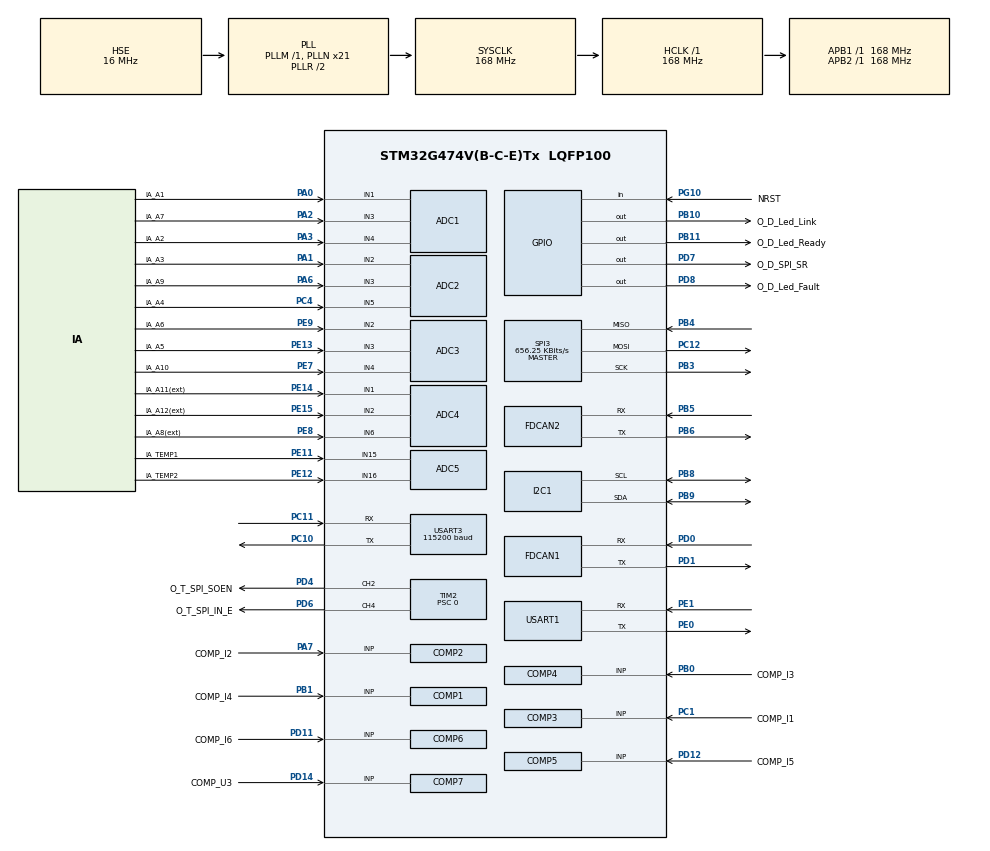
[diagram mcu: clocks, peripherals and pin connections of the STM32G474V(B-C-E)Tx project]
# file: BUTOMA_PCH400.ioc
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ADC1.EnableInjectedConversion=ENABLE
ADC1.EnableInjectedOversampling=ENABLE
ADC1.EnableRegularConversion=DISABLE
ADC1.ExternalTrigInjecConv=ADC_EXTERNALTRIGINJEC_T3_TRGO
ADC1.InjNumberOfConversion=3
ADC1.InjOversamplingRatio=ADC_OVERSAMPLING_RATIO_16
ADC1.InjectedChannel-6\#ChannelInjectedConversion=ADC_CHANNEL_1
ADC1.InjectedChannel-7\#ChannelInjectedConversion=ADC_CHANNEL_3
ADC1.InjectedChannel-8\#ChannelInjectedConversion=ADC_CHANNEL_4
ADC1.InjectedOffsetNumber-6\#ChannelInjectedConversion=ADC_OFFSET_NONE
ADC1.InjectedOffsetNumber-7\#ChannelInjectedConversion=ADC_OFFSET_NONE
ADC1.InjectedOffsetNumber-8\#ChannelInjectedConversion=ADC_OFFSET_NONE
ADC1.InjectedRank-6\#ChannelInjectedConversion=1
ADC1.InjectedRank-7\#ChannelInjectedConversion=2
ADC1.InjectedRank-8\#ChannelInjectedConversion=3
ADC1.InjectedSamplingTime-6\#ChannelInjectedConversion=ADC_SAMPLETIME_2CYCLES_5
ADC1.InjectedSamplingTime-7\#ChannelInjectedConversion=ADC_SAMPLETIME_2CYCLES_5
ADC1.InjectedSamplingTime-8\#ChannelInjectedConversion=ADC_SAMPLETIME_2CYCLES_5
ADC1.Overrun=ADC_OVR_DATA_OVERWRITTEN
ADC1.Rank1_Channel=ADC_CHANNEL_1
ADC1.Rank2_Channel=ADC_CHANNEL_3
ADC1.Rank3_Channel=ADC_CHANNEL_4
ADC1.master=1
ADC2.EnableInjectedConversion=ENABLE
ADC2.EnableInjectedOversampling=ENABLE
ADC2.EnableRegularConversion=DISABLE
ADC2.ExternalTrigInjecConv=ADC_EXTERNALTRIGINJEC_T3_TRGO
ADC2.InjNumberOfConversion=3
ADC2.InjOversamplingRatio=ADC_OVERSAMPLING_RATIO_16
ADC2.InjectedChannel-11\#ChannelInjectedConversion=ADC_CHANNEL_2
ADC2.InjectedChannel-12\#ChannelInjectedConversion=ADC_CHANNEL_3
ADC2.InjectedChannel-13\#ChannelInjectedConversion=ADC_CHANNEL_5
ADC2.InjectedOffsetNumber-11\#ChannelInjectedConversion=ADC_OFFSET_NONE
ADC2.InjectedOffsetNumber-12\#ChannelInjectedConversion=ADC_OFFSET_NONE
ADC2.InjectedOffsetNumber-13\#ChannelInjectedConversion=ADC_OFFSET_NONE
ADC2.InjectedRank-11\#ChannelInjectedConversion=1
ADC2.InjectedRank-12\#ChannelInjectedConversion=2
ADC2.InjectedRank-13\#ChannelInjectedConversion=3
ADC2.InjectedSamplingTime-11\#ChannelInjectedConversion=ADC_SAMPLETIME_2CYCLES_5
ADC2.InjectedSamplingTime-12\#ChannelInjectedConversion=ADC_SAMPLETIME_2CYCLES_5
ADC2.InjectedSamplingTime-13\#ChannelInjectedConversion=ADC_SAMPLETIME_2CYCLES_5
ADC2.Overrun=ADC_OVR_DATA_OVERWRITTEN
ADC2.Rank1_Channel=ADC_CHANNEL_2
ADC2.Rank2_Channel=ADC_CHANNEL_3
ADC2.Rank3_Channel=ADC_CHANNEL_5
ADC3.EnableInjectedConversion=ENABLE
ADC3.EnableInjectedOversampling=ENABLE
ADC3.EnableRegularConversion=DISABLE
ADC3.ExternalTrigInjecConv=ADC_EXTERNALTRIGINJEC_T3_TRGO
ADC3.InjNumberOfConversion=3
ADC3.InjOversamplingRatio=ADC_OVERSAMPLING_RATIO_16
ADC3.InjectedChannel-10\#ChannelInjectedConversion=ADC_CHANNEL_2
ADC3.InjectedChannel-11\#ChannelInjectedConversion=ADC_CHANNEL_3
ADC3.InjectedChannel-12\#ChannelInjectedConversion=ADC_CHANNEL_4
ADC3.InjectedOffsetNumber-10\#ChannelInjectedConversion=ADC_OFFSET_NONE
ADC3.InjectedOffsetNumber-11\#ChannelInjectedConversion=ADC_OFFSET_NONE
ADC3.InjectedOffsetNumber-12\#ChannelInjectedConversion=ADC_OFFSET_NONE
ADC3.InjectedRank-10\#ChannelInjectedConversion=1
ADC3.InjectedRank-11\#ChannelInjectedConversion=2
ADC3.InjectedRank-12\#ChannelInjectedConversion=3
ADC3.InjectedSamplingTime-10\#ChannelInjectedConversion=ADC_SAMPLETIME_2CYCLES_5
ADC3.InjectedSamplingTime-11\#ChannelInjectedConversion=ADC_SAMPLETIME_2CYCLES_5
ADC3.InjectedSamplingTime-12\#ChannelInjectedConversion=ADC_SAMPLETIME_2CYCLES_5
ADC3.Overrun=ADC_OVR_DATA_OVERWRITTEN
ADC3.Rank1_Channel=ADC_CHANNEL_2
ADC3.Rank2_Channel=ADC_CHANNEL_3
ADC3.Rank3_Channel=ADC_CHANNEL_4
ADC3.master=1
ADC4.EnableInjectedConversion=ENABLE
ADC4.EnableInjectedOversampling=ENABLE
ADC4.EnableRegularConversion=DISABLE
ADC4.ExternalTrigInjecConv=ADC_EXTERNALTRIGINJEC_T3_TRGO
ADC4.InjNumberOfConversion=3
ADC4.InjOversamplingRatio=ADC_OVERSAMPLING_RATIO_16
ADC4.InjectedChannel-1\#ChannelInjectedConversion=ADC_CHANNEL_1
ADC4.InjectedChannel-2\#ChannelInjectedConversion=ADC_CHANNEL_2
ADC4.InjectedChannel-3\#ChannelInjectedConversion=ADC_CHANNEL_6
ADC4.InjectedOffsetNumber-1\#ChannelInjectedConversion=ADC_OFFSET_NONE
ADC4.InjectedOffsetNumber-2\#ChannelInjectedConversion=ADC_OFFSET_NONE
ADC4.InjectedOffsetNumber-3\#ChannelInjectedConversion=ADC_OFFSET_NONE
ADC4.InjectedRank-1\#ChannelInjectedConversion=1
ADC4.InjectedRank-2\#ChannelInjectedConversion=2
ADC4.InjectedRank-3\#ChannelInjectedConversion=3
ADC4.InjectedSamplingTime-1\#ChannelInjectedConversion=ADC_SAMPLETIME_2CYCLES_5
ADC4.InjectedSamplingTime-2\#ChannelInjectedConversion=ADC_SAMPLETIME_2CYCLES_5
ADC4.InjectedSamplingTime-3\#ChannelInjectedConversion=ADC_SAMPLETIME_2CYCLES_5
ADC4.Overrun=ADC_OVR_DATA_OVERWRITTEN
ADC4.Rank1_Channel=ADC_CHANNEL_1
ADC4.Rank2_Channel=ADC_CHANNEL_2
ADC4.Rank3_Channel=ADC_CHANNEL_6
ADC5.ClockPrescaler=ADC_CLOCK_SYNC_PCLK_DIV4
ADC5.EnableInjectedConversion=ENABLE
ADC5.EnableInjectedOversampling=ENABLE
ADC5.EnableRegularConversion=DISABLE
ADC5.ExternalTrigInjecConv=ADC_EXTERNALTRIGINJEC_T3_TRGO
ADC5.InjNumberOfConversion=3
ADC5.InjOversamplingRatio=ADC_OVERSAMPLING_RATIO_16
ADC5.InjectedChannel-1\#ChannelInjectedConversion=ADC_CHANNEL_TEMPSENSOR_ADC5
ADC5.InjectedChannel-2\#ChannelInjectedConversion=ADC_CHANNEL_15
ADC5.InjectedChannel-3\#ChannelInjectedConversion=ADC_CHANNEL_16
ADC5.InjectedOffsetNumber-1\#ChannelInjectedConversion=ADC_OFFSET_NONE
ADC5.InjectedOffsetNumber-2\#ChannelInjectedConversion=ADC_OFFSET_NONE
ADC5.InjectedOffsetNumber-3\#ChannelInjectedConversion=ADC_OFFSET_NONE
ADC5.InjectedRank-1\#ChannelInjectedConversion=1
ADC5.InjectedRank-2\#ChannelInjectedConversion=2
ADC5.InjectedRank-3\#ChannelInjectedConversion=3
ADC5.InjectedSamplingTime-1\#ChannelInjectedConversion=ADC_SAMPLETIME_2CYCLES_5
ADC5.InjectedSamplingTime-2\#ChannelInjectedConversion=ADC_SAMPLETIME_2CYCLES_5
ADC5.InjectedSamplingTime-3\#ChannelInjectedConversion=ADC_SAMPLETIME_2CYCLES_5
ADC5.Overrun=ADC_OVR_DATA_OVERWRITTEN
ADC5.Rank2_Channel=ADC_CHANNEL_15
ADC5.Rank3_Channel=ADC_CHANNEL_16
COMP1.Hysteresis=COMP_HYSTERESIS_HIGH
COMP1.TriggerMode=COMP_TRIGGERMODE_IT_FALLING
COMP2.Hysteresis=COMP_HYSTERESIS_HIGH
COMP2.TriggerMode=COMP_TRIGGERMODE_IT_FALLING
COMP3.Hysteresis=COMP_HYSTERESIS_HIGH
COMP3.TriggerMode=COMP_TRIGGERMODE_IT_FALLING
COMP4.Hysteresis=COMP_HYSTERESIS_HIGH
COMP4.TriggerMode=COMP_TRIGGERMODE_IT_FALLING
COMP5.Hysteresis=COMP_HYSTERESIS_HIGH
COMP5.TriggerMode=COMP_TRIGGERMODE_IT_FALLING
COMP6.Hysteresis=COMP_HYSTERESIS_HIGH
COMP6.TriggerMode=COMP_TRIGGERMODE_IT_FALLING
COMP7.Hysteresis=COMP_HYSTERESIS_HIGH
COMP7.TriggerMode=COMP_TRIGGERMODE_IT_FALLING
DAC1.DAC_Channel-DAC_OUT2_Int=DAC_CHANNEL_2
DAC4.DAC_Channel-DAC_OUT2_Int=DAC_CHANNEL_2
Dma.Request0=USART3_RX
Dma.Request1=USART3_TX
Dma.Request2=USART1_RX
Dma.Request3=USART1_TX
Dma.Request4=SPI3_RX
Dma.Request5=SPI3_TX
Dma.SPI3_RX.4.Direction=DMA_PERIPH_TO_MEMORY
Dma.SPI3_RX.4.EventEnable=DISABLE
Dma.SPI3_RX.4.Instance=DMA1_Channel5
Dma.SPI3_RX.4.MemDataAlignment=DMA_MDATAALIGN_BYTE
Dma.SPI3_RX.4.MemInc=DMA_MINC_ENABLE
Dma.SPI3_RX.4.Mode=DMA_NORMAL
Dma.SPI3_RX.4.PeriphDataAlignment=DMA_PDATAALIGN_BYTE
Dma.SPI3_RX.4.PeriphInc=DMA_PINC_DISABLE
Dma.SPI3_RX.4.Polarity=HAL_DMAMUX_REQ_GEN_RISING
Dma.SPI3_RX.4.Priority=DMA_PRIORITY_LOW
Dma.SPI3_RX.4.RequestNumber=1
Dma.SPI3_RX.4.SignalID=NONE
Dma.SPI3_RX.4.SyncEnable=DISABLE
Dma.SPI3_RX.4.SyncPolarity=HAL_DMAMUX_SYNC_NO_EVENT
Dma.SPI3_RX.4.SyncRequestNumber=1
Dma.SPI3_RX.4.SyncSignalID=NONE
Dma.SPI3_TX.5.Direction=DMA_MEMORY_TO_PERIPH
Dma.SPI3_TX.5.EventEnable=DISABLE
Dma.SPI3_TX.5.Instance=DMA1_Channel6
Dma.SPI3_TX.5.MemDataAlignment=DMA_MDATAALIGN_BYTE
Dma.SPI3_TX.5.MemInc=DMA_MINC_ENABLE
Dma.SPI3_TX.5.Mode=DMA_NORMAL
Dma.SPI3_TX.5.PeriphDataAlignment=DMA_PDATAALIGN_BYTE
Dma.SPI3_TX.5.PeriphInc=DMA_PINC_DISABLE
Dma.SPI3_TX.5.Polarity=HAL_DMAMUX_REQ_GEN_RISING
Dma.SPI3_TX.5.Priority=DMA_PRIORITY_LOW
Dma.SPI3_TX.5.RequestNumber=1
Dma.SPI3_TX.5.SignalID=NONE
Dma.SPI3_TX.5.SyncEnable=DISABLE
Dma.SPI3_TX.5.SyncPolarity=HAL_DMAMUX_SYNC_NO_EVENT
Dma.SPI3_TX.5.SyncRequestNumber=1
Dma.SPI3_TX.5.SyncSignalID=NONE
Dma.USART1_RX.2.Direction=DMA_PERIPH_TO_MEMORY
Dma.USART1_RX.2.EventEnable=DISABLE
Dma.USART1_RX.2.Instance=DMA1_Channel3
Dma.USART1_RX.2.MemDataAlignment=DMA_MDATAALIGN_BYTE
Dma.USART1_RX.2.MemInc=DMA_MINC_ENABLE
Dma.USART1_RX.2.Mode=DMA_NORMAL
Dma.USART1_RX.2.PeriphDataAlignment=DMA_PDATAALIGN_BYTE
Dma.USART1_RX.2.PeriphInc=DMA_PINC_DISABLE
Dma.USART1_RX.2.Polarity=HAL_DMAMUX_REQ_GEN_RISING
Dma.USART1_RX.2.Priority=DMA_PRIORITY_LOW
Dma.USART1_RX.2.RequestNumber=1
Dma.USART1_RX.2.SignalID=NONE
Dma.USART1_RX.2.SyncEnable=DISABLE
Dma.USART1_RX.2.SyncPolarity=HAL_DMAMUX_SYNC_NO_EVENT
Dma.USART1_RX.2.SyncRequestNumber=1
Dma.USART1_RX.2.SyncSignalID=NONE
Dma.USART1_TX.3.Direction=DMA_MEMORY_TO_PERIPH
Dma.USART1_TX.3.EventEnable=DISABLE
Dma.USART1_TX.3.Instance=DMA1_Channel7
Dma.USART1_TX.3.MemDataAlignment=DMA_MDATAALIGN_BYTE
Dma.USART1_TX.3.MemInc=DMA_MINC_ENABLE
Dma.USART1_TX.3.Mode=DMA_NORMAL
Dma.USART1_TX.3.PeriphDataAlignment=DMA_PDATAALIGN_BYTE
Dma.USART1_TX.3.PeriphInc=DMA_PINC_DISABLE
Dma.USART1_TX.3.Polarity=HAL_DMAMUX_REQ_GEN_RISING
Dma.USART1_TX.3.Priority=DMA_PRIORITY_LOW
Dma.USART1_TX.3.RequestNumber=1
Dma.USART1_TX.3.SignalID=NONE
Dma.USART1_TX.3.SyncEnable=DISABLE
Dma.USART1_TX.3.SyncPolarity=HAL_DMAMUX_SYNC_NO_EVENT
Dma.USART1_TX.3.SyncRequestNumber=1
Dma.USART1_TX.3.SyncSignalID=NONE
Dma.USART3_RX.0.Direction=DMA_PERIPH_TO_MEMORY
Dma.USART3_RX.0.EventEnable=DISABLE
Dma.USART3_RX.0.Instance=DMA1_Channel1
Dma.USART3_RX.0.MemDataAlignment=DMA_MDATAALIGN_BYTE
Dma.USART3_RX.0.MemInc=DMA_MINC_ENABLE
Dma.USART3_RX.0.Mode=DMA_NORMAL
Dma.USART3_RX.0.PeriphDataAlignment=DMA_PDATAALIGN_BYTE
Dma.USART3_RX.0.PeriphInc=DMA_PINC_DISABLE
Dma.USART3_RX.0.Polarity=HAL_DMAMUX_REQ_GEN_RISING
Dma.USART3_RX.0.Priority=DMA_PRIORITY_LOW
Dma.USART3_RX.0.RequestNumber=1
Dma.USART3_RX.0.SignalID=NONE
Dma.USART3_RX.0.SyncEnable=DISABLE
Dma.USART3_RX.0.SyncPolarity=HAL_DMAMUX_SYNC_NO_EVENT
Dma.USART3_RX.0.SyncRequestNumber=1
Dma.USART3_RX.0.SyncSignalID=NONE
Dma.USART3_TX.1.Direction=DMA_MEMORY_TO_PERIPH
Dma.USART3_TX.1.EventEnable=DISABLE
Dma.USART3_TX.1.Instance=DMA1_Channel2
Dma.USART3_TX.1.MemDataAlignment=DMA_MDATAALIGN_BYTE
Dma.USART3_TX.1.MemInc=DMA_MINC_ENABLE
Dma.USART3_TX.1.Mode=DMA_NORMAL
Dma.USART3_TX.1.PeriphDataAlignment=DMA_PDATAALIGN_BYTE
Dma.USART3_TX.1.PeriphInc=DMA_PINC_DISABLE
Dma.USART3_TX.1.Polarity=HAL_DMAMUX_REQ_GEN_RISING
Dma.USART3_TX.1.Priority=DMA_PRIORITY_LOW
Dma.USART3_TX.1.RequestNumber=1
Dma.USART3_TX.1.SignalID=NONE
Dma.USART3_TX.1.SyncEnable=DISABLE
Dma.USART3_TX.1.SyncPolarity=HAL_DMAMUX_SYNC_NO_EVENT
Dma.USART3_TX.1.SyncRequestNumber=1
Dma.USART3_TX.1.SyncSignalID=NONE
FDCAN1.AutoRetransmission=ENABLE
FDCAN1.CalculateBaudRateNominal=500000
FDCAN1.CalculateTimeBitNominal=2000
FDCAN1.CalculateTimeQuantumNominal=125.0
FDCAN1.ClockDivider=FDCAN_CLOCK_DIV1
FDCAN1.DataPrescaler=_CAN_PSC
FDCAN1.DataSyncJumpWidth=1
FDCAN1.DataTimeSeg1=_CAN_SEG1
FDCAN1.DataTimeSeg2=_CAN_SEG2
FDCAN1.ExtFiltersNbr=0
FDCAN1.FrameFormat=FDCAN_FRAME_CLASSIC
FDCAN1.Mode=FDCAN_MODE_NORMAL
FDCAN1.NominalPrescaler=_CAN_PSC
FDCAN1.NominalSyncJumpWidth=1
FDCAN1.NominalTimeSeg1=_CAN_SEG1
FDCAN1.NominalTimeSeg2=_CAN_SEG2
FDCAN1.ProtocolException=DISABLE
FDCAN1.StdFiltersNbr=1
FDCAN1.TransmitPause=DISABLE
FDCAN1.TxFifoQueueMode=FDCAN_TX_FIFO_OPERATION
FDCAN2.AutoRetransmission=ENABLE
FDCAN2.CalculateBaudRateNominal=500000
FDCAN2.CalculateTimeBitNominal=2000
FDCAN2.CalculateTimeQuantumNominal=125.0
FDCAN2.DataPrescaler=_CAN_PSC
FDCAN2.DataTimeSeg1=_CAN_SEG1
FDCAN2.DataTimeSeg2=_CAN_SEG2
FDCAN2.NominalPrescaler=_CAN_PSC
FDCAN2.NominalTimeSeg1=_CAN_SEG1
FDCAN2.NominalTimeSeg2=_CAN_SEG2
FDCAN2.StdFiltersNbr=1
HRTIM1.CompareUnit1-No_output_TA=__NULL
HRTIM1.CompareUnit1-No_output_TB=__NULL
HRTIM1.ModeTimeBase-No_output_TC=HRTIM_MODE_CONTINUOUS
HRTIM1.Periode_TA=21000
HRTIM1.Periode_TC=27999
HRTIM1.PrescalerRatio_TA=HRTIM_PRESCALERRATIO_DIV1
HRTIM1.PrescalerRatio_TC=HRTIM_PRESCALERRATIO_DIV1
HRTIM1.UpDownMode-No_output_TC=HRTIM_TIMERUPDOWNMODE_UP
I2C1.Timing=0x60505F8C
Mcu.Family=STM32G4
Mcu.Name=STM32G474V(B-C-E)Tx
Mcu.Package=LQFP100
Mcu.UserConstants=_TIM1K_ARR,(16800-1);_CAN_PSC,_CAN_500_PSC;_TIM1K_PSC,(10-1);_HRTIM_PERIOD,10500;_CAN_SEG1,_CAN_500_SEG1;_LAMP_TIM_ARR,8400-1;_CAN_SEG2,_CAN_500_SEG2;_ADC_TIM,_ADC_TIM_24000;_CAN_500_PSC,21;_ADC_TIM_24000,(7000-1);_LED3_TIM_ARR,8400-1;_TIM10K_SPI_START,3000;_HRTIM_DT,300;_CAN_500_SEG1,13;_ADC_TIM_12800,(13125-1);_TIM10K_SPI_IN_E,15000;_CAN_500_SEG2,2;_TIM10K_SPI_ARR,(16800-1);_TIM10K_SPI_SOEN,1000;_TIM_SPI_INOUT_20KHZ_ARR,(20000-1);_TIM_SPI_INOUT_20KHZ_INE,1000;_TIM_SPI_INOUT_20KHZ_SOEN,(18000);_TIM_SPI_INOUT_20KHZ_START,1600
NVIC.ADC3_IRQn=true\:3\:0\:true\:false\:false\:true\:false\:true
NVIC.COMP1_2_3_IRQn=true\:0\:0\:false\:false\:true\:false\:true\:true
NVIC.COMP4_5_6_IRQn=true\:0\:0\:false\:false\:true\:false\:true\:true
NVIC.COMP7_IRQn=true\:0\:0\:false\:false\:true\:false\:true\:true
NVIC.DMA1_Channel1_IRQn=true\:0\:0\:false\:false\:true\:false\:true\:true
NVIC.DMA1_Channel2_IRQn=true\:0\:0\:false\:false\:true\:false\:true\:true
NVIC.DMA1_Channel3_IRQn=true\:0\:0\:false\:false\:true\:false\:true\:true
NVIC.DMA1_Channel5_IRQn=true\:0\:0\:false\:false\:true\:false\:true\:true
NVIC.DMA1_Channel6_IRQn=true\:0\:0\:false\:false\:true\:false\:true\:true
NVIC.DMA1_Channel7_IRQn=true\:0\:0\:false\:false\:true\:false\:true\:true
NVIC.HRTIM1_TIMA_IRQn=true\:1\:0\:true\:false\:false\:true\:false\:true
NVIC.HRTIM1_TIMD_IRQn=true\:1\:0\:true\:false\:false\:true\:false\:true
NVIC.PriorityGroup=NVIC_PRIORITYGROUP_4
NVIC.TIM1_TRG_COM_TIM17_IRQn=true\:4\:0\:true\:false\:false\:true\:false\:true
NVIC.TIM2_IRQn=true\:1\:0\:true\:false\:false\:true\:false\:true
NVIC.USART1_IRQn=true\:4\:0\:true\:false\:false\:true\:false\:true
NVIC.USART3_IRQn=true\:4\:0\:true\:false\:false\:true\:false\:true
PA0.GPIO_Label=IA_A1
PA0.Mode=IN1-Single-Ended
PA0.Signal=ADC1_IN1
PA1.GPIO_Label=IA_A3
PA1.Mode=IN2-Single-Ended
PA1.Signal=ADC2_IN2
PA10.GPIO_Label=PWM_4H
PA10.Signal=HRTIM1_CHB1
PA11.GPIO_Label=PWM_4L
PA11.Signal=HRTIM1_CHB2
PA13.Mode=Serial_Wire
PA13.Signal=SYS_JTMS-SWDIO
PA14.Mode=Serial_Wire
PA14.Signal=SYS_JTCK-SWCLK
PA2.GPIO_Label=IA_A7
PA2.Mode=IN3-Single-Ended
PA2.Signal=ADC1_IN3
PA3.GPIO_Label=IA_A2
PA3.Mode=IN4-Single-Ended
PA3.Signal=ADC1_IN4
PA6.GPIO_Label=IA_A9
PA6.Mode=IN3-Single-Ended
PA6.Signal=ADC2_IN3
PA7.GPIO_Label=COMP_I2
PA7.Mode=INP
PA7.Signal=COMP2_INP
PA8.GPIO_Label=PWM_6H
PA8.Signal=HRTIM1_CHA1
PA9.GPIO_Label=PWM_6L
PA9.Signal=HRTIM1_CHA2
PB0.GPIO_Label=COMP_I3
PB0.Mode=INP
PB0.Signal=COMP4_INP
PB1.GPIO_Label=COMP_I4
PB1.Mode=INP
PB1.Signal=COMP1_INP
PB10.GPIO_Label=O_D_Led_Link
PB10.Signal=GPIO_Output
PB11.GPIO_Label=O_D_Led_Ready
PB11.Signal=GPIO_Output
PB12.GPIO_Label=PWM_2H
PB12.Signal=HRTIM1_CHC1
PB13.GPIO_Label=PWM_2L
PB13.Signal=HRTIM1_CHC2
PB14.GPIO_Label=PWM_3H
PB14.Signal=HRTIM1_CHD1
PB15.GPIO_Label=PWM_3L
PB15.Signal=HRTIM1_CHD2
PB3.Mode=Full_Duplex_Master
PB3.Signal=SPI3_SCK
PB4.Mode=Full_Duplex_Master
PB4.Signal=SPI3_MISO
PB5.Mode=FDCAN_Activate
PB5.Signal=FDCAN2_RX
PB6.Mode=FDCAN_Activate
PB6.Signal=FDCAN2_TX
PB8-BOOT0.Mode=I2C
PB8-BOOT0.Signal=I2C1_SCL
PB9.Mode=I2C
PB9.Signal=I2C1_SDA
PC1.GPIO_Label=COMP_I1
PC1.Mode=INP
PC1.Signal=COMP3_INP
PC10.Mode=Asynchronous
PC10.Signal=USART3_TX
PC11.GPIO_PuPd=GPIO_PULLDOWN
PC11.Mode=Asynchronous
PC11.Signal=USART3_RX
PC12.Mode=Full_Duplex_Master
PC12.Signal=SPI3_MOSI
PC4.GPIO_Label=IA_A4
PC4.Mode=IN5-Single-Ended
PC4.Signal=ADC2_IN5
PC6.GPIO_Label=PWM_1H
PC6.Signal=HRTIM1_CHF1
PC7.GPIO_Label=PWM_1L
PC7.Signal=HRTIM1_CHF2
PC8.GPIO_Label=PWM_5H
PC8.Signal=HRTIM1_CHE1
PC9.GPIO_Label=PWM_5L
PC9.Signal=HRTIM1_CHE2
PD0.Mode=FDCAN_Activate
PD0.Signal=FDCAN1_RX
PD1.Mode=FDCAN_Activate
PD1.Signal=FDCAN1_TX
PD11.GPIO_Label=COMP_I6
PD11.Mode=INP
PD11.Signal=COMP6_INP
PD12.GPIO_Label=COMP_I5
PD12.Mode=INP
PD12.Signal=COMP5_INP
PD14.GPIO_Label=COMP_U3
PD14.Mode=INP
PD14.Signal=COMP7_INP
PD4.GPIO_Label=O_T_SPI_SOEN
PD4.Signal=S_TIM2_CH2
PD6.GPIO_Label=O_T_SPI_IN_E
PD6.Signal=S_TIM2_CH4
PD7.GPIO_Label=O_D_SPI_SR
PD7.Signal=GPIO_Output
PD8.GPIO_Label=O_D_Led_Fault
PD8.Signal=GPIO_Output
PE0.Mode=Asynchronous
PE0.Signal=USART1_TX
PE1.Mode=Asynchronous
PE1.Signal=USART1_RX
PE11.GPIO_Label=IA_TEMP1
PE11.Mode=IN15-Single-Ended
PE11.Signal=ADC5_IN15
PE12.GPIO_Label=IA_TEMP2
PE12.Mode=IN16-Single-Ended
PE12.Signal=ADC5_IN16
PE13.GPIO_Label=IA_A5
PE13.Mode=IN3-Single-Ended
PE13.Signal=ADC3_IN3
PE14.GPIO_Label=IA_A11(ext)
PE14.Mode=IN1-Single-Ended
PE14.Signal=ADC4_IN1
PE15.GPIO_Label=IA_A12(ext)
PE15.Mode=IN2-Single-Ended
PE15.Signal=ADC4_IN2
PE7.GPIO_Label=IA_A10
PE7.Mode=IN4-Single-Ended
PE7.Signal=ADC3_IN4
PE8.GPIO_Label=IA_A8(ext)
PE8.Mode=IN6-Single-Ended
PE8.Signal=ADC4_IN6
PE9.GPIO_Label=IA_A6
PE9.Mode=IN2-Single-Ended
PE9.Signal=ADC3_IN2
PF0-OSC_IN.Mode=HSE-External-Clock-Source
PF0-OSC_IN.Signal=RCC_OSC_IN
PG10-NRST.GPIO_Label=NRST
PG10-NRST.Signal=GPIO_Input
ProjectManager.HeapSize=0x1000
ProjectManager.StackSize=0x2000
ProjectManager.TargetToolchain=Makefile
RCC.ADC12Freq_Value=168000000
RCC.ADC345Freq_Value=168000000
RCC.AHBFreq_Value=168000000
RCC.APB1Freq_Value=168000000
RCC.APB1TimFreq_Value=168000000
RCC.APB2Freq_Value=168000000
RCC.APB2TimFreq_Value=168000000
RCC.CortexFreq_Value=168000000
RCC.EXTERNAL_CLOCK_VALUE=12288000
RCC.FLatency=FLASH_LATENCY_4
RCC.HCLKFreq_Value=168000000
RCC.HSE_VALUE=16000000
RCC.HSI48_VALUE=48000000
RCC.HSICalibrationValue=16
RCC.HSI_VALUE=16000000
RCC.LSE_VALUE=32768
RCC.PLLN=21
RCC.PLLSourceVirtual=RCC_PLLSOURCE_HSE
RCC.PWR_Regulator_Voltage_Scale=PWR_REGULATOR_VOLTAGE_SCALE1_BOOST
RCC.SYSCLKFreq_VALUE=168000000
RCC.SYSCLKSource=RCC_SYSCLKSOURCE_PLLCLK
RCC.USBFreq_Value=168000000
RCC.VCOOutputFreq_Value=336000000
SH.S_TIM2_CH2.0=TIM2_CH2,PWM Generation2 CH2
SH.S_TIM2_CH4.0=TIM2_CH4,PWM Generation4 CH4
SPI3.BaudRatePrescaler=SPI_BAUDRATEPRESCALER_256
SPI3.CLKPhase=SPI_PHASE_1EDGE
SPI3.CalculateBaudRate=656.25 KBits/s
SPI3.DataSize=SPI_DATASIZE_8BIT
SPI3.Direction=SPI_DIRECTION_2LINES
SPI3.Mode=SPI_MODE_MASTER
SPI3.VirtualType=VM_MASTER
TIM17.PeriodNoDither=_TIM1K_ARR
TIM17.Prescaler=_TIM1K_PSC
TIM2.Channel-Output\ Compare3\ No\ Output=TIM_CHANNEL_3
TIM2.Channel-PWM\ Generation2\ CH2=TIM_CHANNEL_2
TIM2.Channel-PWM\ Generation4\ CH4=TIM_CHANNEL_4
TIM2.CounterMode=TIM_COUNTERMODE_UP
TIM2.OCMode_PWM-PWM\ Generation2\ CH2=TIM_OCMODE_PWM1
TIM2.OCPolarity_2=TIM_OCPOLARITY_LOW
TIM2.OCPolarity_4=TIM_OCPOLARITY_LOW
TIM2.PeriodNoDither=_TIM_SPI_INOUT_20KHZ_ARR
TIM2.Prescaler=0
TIM2.PulseNoDither_2=_TIM_SPI_INOUT_20KHZ_SOEN
TIM2.PulseNoDither_3=_TIM_SPI_INOUT_20KHZ_START
TIM2.PulseNoDither_4=_TIM_SPI_INOUT_20KHZ_INE
TIM3.Channel-Output\ Compare1\ No\ Output=TIM_CHANNEL_1
TIM3.PeriodNoDither=_ADC_TIM
TIM3.PulseNoDither_1=(_ADC_TIM/2)
TIM3.TIM_MasterOutputTrigger=TIM_TRGO_UPDATE
USART1.VirtualMode-Asynchronous=VM_ASYNC
USART3.AutoBaudRateEnableParam=UART_ADVFEATURE_AUTOBAUDRATE_DISABLE
USART3.BaudRate=115200
USART3.ClockPrescaler=PRESCALER_DIV1
USART3.DMADisableonRxErrorParam=ADVFEATURE_DMA_ENABLEONRXERROR
USART3.DataInvertParam=ADVFEATURE_DATAINV_DISABLE
USART3.FIFOMode=FIFOMODE_DISABLE
USART3.MSBFirstParam=ADVFEATURE_MSBFIRST_DISABLE
USART3.Mode=MODE_TX_RX
USART3.OneBitSampling=UART_ONE_BIT_SAMPLE_DISABLE
USART3.OverSampling=UART_OVERSAMPLING_16
USART3.OverrunDisableParam=ADVFEATURE_OVERRUN_ENABLE
USART3.Parity=PARITY_NONE
USART3.RXFIFOThreshold=RXFIFO_THRESHOLD_1EIGHTHFULL
USART3.RxPinLevelInvertParam=ADVFEATURE_RXINV_DISABLE
USART3.StopBits=STOPBITS_1
USART3.SwapParam=ADVFEATURE_SWAP_DISABLE
USART3.TXFIFOThreshold=TXFIFO_THRESHOLD_1EIGHTHFULL
USART3.TxPinLevelInvertParam=ADVFEATURE_TXINV_DISABLE
USART3.VirtualMode-Asynchronous=VM_ASYNC
USART3.WordLength=WORDLENGTH_8B
VP_ADC5_TempSens_Input.Mode=IN-TempSens
VP_ADC5_Vref_Input.Mode=IN-Vrefint
VP_COMP1_VS_DAC1OUT1.Mode=INM_DAC1OUT1
VP_COMP2_VS_DAC1OUT2.Mode=INM_DAC1OUT2
VP_COMP3_VS_DAC1OUT1.Mode=INM_DAC1OUT1
VP_COMP4_VS_DAC1OUT1.Mode=INM_DAC1OUT1
VP_COMP5_VS_DAC1OUT2.Mode=INM_DAC1OUT2
VP_COMP6_VS_DAC2OUT1.Mode=INM_DAC2OUT1
VP_COMP7_VS_DAC4OUT1.Mode=INM_DAC4OUT1
VP_CORDIC_VS_CORDIC.Mode=CORDIC_Activate
VP_DAC1_VS_DACI1.Mode=DAC_OUT1_Int
VP_DAC1_VS_DACI2.Mode=DAC_OUT2_Int
VP_DAC2_VS_DACI1.Mode=DAC_OUT1_Int
VP_DAC4_VS_DACI1.Mode=DAC_OUT1_Int
VP_DAC4_VS_DACI2.Mode=DAC_OUT2_Int
VP_HRTIM1_VS_hrtimTimerANoOutput.Mode=No_output_TA
VP_HRTIM1_VS_hrtimTimerBNoOutput.Mode=No_output_TB
VP_HRTIM1_VS_hrtimTimerCNoOutput.Mode=No_output_TC
VP_HRTIM1_VS_hrtimTimerDNoOutput.Mode=No_output_TD
VP_HRTIM1_VS_hrtimTimerENoOutput.Mode=No_output_TE
VP_HRTIM1_VS_hrtimTimerFNoOutput.Mode=No_output_TF
VP_SYS_VS_DBSignals.Mode=DisableDeadBatterySignals
VP_TIM17_VS_ClockSourceINT.Mode=Enable_Timer
VP_TIM2_VS_ClockSourceINT.Mode=Internal
VP_TIM2_VS_no_output3.Mode=Output Compare3 No Output
VP_TIM3_VS_ClockSourceINT.Mode=Internal
VP_TIM3_VS_no_output1.Mode=Output Compare1 No Output
board=custom

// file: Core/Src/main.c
/* USER CODE BEGIN Header */
/**
  ******************************************************************************
  * @file           : main.c
  * @brief          : Main program body
  ******************************************************************************
  * @attention
  *
  * Copyright (c) 2024 STMicroelectronics.
  * All rights reserved.
  *
  * This software is licensed under terms that can be found in the LICENSE file
  * in the root directory of this software component.
  * If no LICENSE file comes with this software, it is provided AS-IS.
  *
  ******************************************************************************
  */

/* --------------- ПАМЯТКА ---------------
Нужно в программе STM32CubeProgrammer во вкладке "Options Byts" во вкладке "User Configuration" убрать галку "nSWBOOT0".

Байт "nSWBOOT0" отвечает за запуск прошивки.
Если опция выбрана, то запуск прошивки осуществяется с ножки МК (по аналогии Run/Stop),
в противороложном случае запуск прошивки осуществяется программно (сразу после перепрошивки).

На сдвиговые регистры поинтерфейсу SPI необходимо подать 6 посылок,
а только потом выдать сигнал S_OEN.
Первые две посылки предназначены для управления релейными выходами,
последующие 4 для индикации на разъемах RJ45
--------------- ПАМЯТКА КОНЕЦ--------------- */

/* USER CODE END Header */
#include "main.h"
#include "adc.h"
#include "comp.h"
#include "cordic.h"
#include "dac.h"
#include "dma.h"
#include "fdcan.h"
#include "hrtim.h"
#include "i2c.h"
#include "spi.h"
#include "tim.h"
#include "usart.h"
#include "gpio.h"

/* USER CODE BEGIN Includes */
#include "App.h"
/* USER CODE END Includes */

void SystemClock_Config(void);

/* USER CODE BEGIN 0 */

 FDCAN_TxHeaderTypeDef CAN_TxHeader;
uint8_t buf[5] = {1,2,3,4,5};

/* USER CODE END 0 */

int main(void)
{

  /* MCU Configuration--------------------------------------------------------*/

  /* Reset of all peripherals, Initializes the Flash interface and the Systick. */
  HAL_Init();

  /* Configure the system clock */
  SystemClock_Config();

  /* Initialize all configured peripherals */
  MX_GPIO_Init();
  MX_DMA_Init();
  MX_FDCAN1_Init();
  MX_USART3_UART_Init();
  MX_ADC2_Init();
  MX_ADC3_Init();
  MX_CORDIC_Init();
  MX_ADC1_Init();
  MX_ADC5_Init();
  MX_DAC1_Init();
  MX_FDCAN2_Init();
  MX_COMP3_Init();
  MX_I2C1_Init();
  MX_USART1_UART_Init();
  MX_ADC4_Init();
  MX_COMP1_Init();
  MX_COMP2_Init();
  MX_COMP4_Init();
  MX_COMP5_Init();
  MX_COMP6_Init();
  MX_COMP7_Init();
  MX_DAC2_Init();
  MX_DAC4_Init();
  MX_TIM17_Init();
  MX_SPI3_Init();
  MX_TIM2_Init();
  MX_TIM3_Init();
  MX_HRTIM1_Init();
  /* USER CODE BEGIN 2 */

  // HAL_DAC_Start(&hdac1,DAC_CHANNEL_1);
  // HAL_DAC_Start(&hdac1,DAC_CHANNEL_2);
  // HAL_DAC_Start(&hdac2,DAC_CHANNEL_1);
  // HAL_DAC_Start(&hdac4,DAC_CHANNEL_1);
  // HAL_DAC_Start(&hdac4,DAC_CHANNEL_2);

  // uint16_t val = 4000;
  // HAL_DAC_SetValue(&hdac1,DAC_CHANNEL_1,DAC_ALIGN_12B_R,val);
  // HAL_DAC_SetValue(&hdac1,DAC_CHANNEL_2,DAC_ALIGN_12B_R,val);
  // HAL_DAC_SetValue(&hdac2,DAC_CHANNEL_1,DAC_ALIGN_12B_R,val);
  // HAL_DAC_SetValue(&hdac4,DAC_CHANNEL_1,DAC_ALIGN_12B_R,val);
  // HAL_DAC_SetValue(&hdac4,DAC_CHANNEL_2,DAC_ALIGN_12B_R,val);

  // HAL_COMP_Start(&hcomp1);
  // HAL_COMP_Start(&hcomp2);
  // HAL_COMP_Start(&hcomp3);
  // HAL_COMP_Start(&hcomp4);
  // HAL_COMP_Start(&hcomp5);
  // HAL_COMP_Start(&hcomp6);
  // HAL_COMP_Start(&hcomp7);

 /* -------------------------------------- CAN --------------------------------------  */
  /* Configure Rx filter */
  FDCAN_FilterTypeDef CAN_sFilterConfig;
  CAN_sFilterConfig.IdType = FDCAN_STANDARD_ID;
  CAN_sFilterConfig.FilterIndex = 0;
  CAN_sFilterConfig.FilterType = FDCAN_FILTER_RANGE;
  CAN_sFilterConfig.FilterConfig = FDCAN_FILTER_TO_RXFIFO0;
  CAN_sFilterConfig.FilterID1 = 0x0;
  CAN_sFilterConfig.FilterID2 = 0x7FF;
  if (HAL_FDCAN_ConfigFilter(&hfdcan1, &CAN_sFilterConfig) != HAL_OK)
  {
    Error_Handler();
  }
  if (HAL_FDCAN_ConfigFilter(&hfdcan2, &CAN_sFilterConfig) != HAL_OK)
  {
    Error_Handler();
  }

  /* Configure global filter:
     Filter all remote frames with STD and EXT ID
     Reject non matching frames with STD ID and EXT ID */
  if (HAL_FDCAN_ConfigGlobalFilter(&hfdcan1, FDCAN_REJECT, FDCAN_REJECT, FDCAN_FILTER_REMOTE, FDCAN_FILTER_REMOTE) != HAL_OK)
  {
    Error_Handler();
  }
  if (HAL_FDCAN_ConfigGlobalFilter(&hfdcan2, FDCAN_REJECT, FDCAN_REJECT, FDCAN_FILTER_REMOTE, FDCAN_FILTER_REMOTE) != HAL_OK)
  {
    Error_Handler();
  }

  /* Start the FDCAN module */
  if (HAL_FDCAN_Start(&hfdcan1) != HAL_OK)
  {
    Error_Handler();
  }
  if (HAL_FDCAN_Start(&hfdcan2) != HAL_OK)
  {
    Error_Handler();
  }

  if (HAL_FDCAN_ActivateNotification(&hfdcan1, FDCAN_IT_RX_FIFO0_NEW_MESSAGE | FDCAN_IT_ARB_PROTOCOL_ERROR, 0) != HAL_OK)
  {
    Error_Handler();
  }
  if (HAL_FDCAN_ActivateNotification(&hfdcan2, FDCAN_IT_RX_FIFO0_NEW_MESSAGE | FDCAN_IT_ARB_PROTOCOL_ERROR, 0) != HAL_OK)
  {
    Error_Handler();
  }

  /* Prepare Tx Header */
  CAN_TxHeader.Identifier = 0x322;
  CAN_TxHeader.IdType = FDCAN_STANDARD_ID;
  CAN_TxHeader.TxFrameType = FDCAN_DATA_FRAME;
  CAN_TxHeader.DataLength = FDCAN_DLC_BYTES_8;
  CAN_TxHeader.ErrorStateIndicator = FDCAN_ESI_ACTIVE;
  CAN_TxHeader.BitRateSwitch = FDCAN_BRS_OFF;
  CAN_TxHeader.FDFormat = FDCAN_CLASSIC_CAN;
  CAN_TxHeader.TxEventFifoControl = FDCAN_NO_TX_EVENTS;
  CAN_TxHeader.MessageMarker = 0;
  /* -------------------------------------- CAN END-------------------------------------------  */

  app_main();
//-------------------------- управление в App.c ----------------------------------------------------------------

  //app_hardware_init();
  /* USER CODE END 2 */

  /* Infinite loop */
  while (1)
  {

  }
}

void SystemClock_Config(void)
{
  RCC_OscInitTypeDef RCC_OscInitStruct = {0};
  RCC_ClkInitTypeDef RCC_ClkInitStruct = {0};

  /** Configure the main internal regulator output voltage
  */
  HAL_PWREx_ControlVoltageScaling(PWR_REGULATOR_VOLTAGE_SCALE1_BOOST);

  /** Initializes the RCC Oscillators according to the specified parameters
  * in the RCC_OscInitTypeDef structure.
  */
  RCC_OscInitStruct.OscillatorType = RCC_OSCILLATORTYPE_HSE;
  RCC_OscInitStruct.HSEState = RCC_HSE_BYPASS;
  RCC_OscInitStruct.PLL.PLLState = RCC_PLL_ON;
  RCC_OscInitStruct.PLL.PLLSource = RCC_PLLSOURCE_HSE;
  RCC_OscInitStruct.PLL.PLLM = RCC_PLLM_DIV1;
  RCC_OscInitStruct.PLL.PLLN = 21;
  RCC_OscInitStruct.PLL.PLLP = RCC_PLLP_DIV2;
  RCC_OscInitStruct.PLL.PLLQ = RCC_PLLQ_DIV2;
  RCC_OscInitStruct.PLL.PLLR = RCC_PLLR_DIV2;
  if (HAL_RCC_OscConfig(&RCC_OscInitStruct) != HAL_OK)
  {
    Error_Handler();
  }

  /** Initializes the CPU, AHB and APB buses clocks
  */
  RCC_ClkInitStruct.ClockType = RCC_CLOCKTYPE_HCLK|RCC_CLOCKTYPE_SYSCLK
                              |RCC_CLOCKTYPE_PCLK1|RCC_CLOCKTYPE_PCLK2;
  RCC_ClkInitStruct.SYSCLKSource = RCC_SYSCLKSOURCE_PLLCLK;
  RCC_ClkInitStruct.AHBCLKDivider = RCC_SYSCLK_DIV1;
  RCC_ClkInitStruct.APB1CLKDivider = RCC_HCLK_DIV1;
  RCC_ClkInitStruct.APB2CLKDivider = RCC_HCLK_DIV1;

  if (HAL_RCC_ClockConfig(&RCC_ClkInitStruct, FLASH_LATENCY_4) != HAL_OK)
  {
    Error_Handler();
  }
}

/* USER CODE BEGIN 4 */

void HAL_COMP_TriggerCallback(COMP_HandleTypeDef *hcomp){

  asm("NOP");

    if(hcomp == &hcomp1){

    }else if(hcomp == &hcomp2){

    }else if(hcomp == &hcomp3){

    }else if(hcomp == &hcomp4){

    }else if(hcomp == &hcomp5){

    }else if(hcomp == &hcomp6){

    }else if(hcomp == &hcomp7){

    }else{
      asm("NOP");
    }

}

/* USER CODE END 4 */

void Error_Handler(void)
{
  __disable_irq();
  while (1)
  {
  }
}
